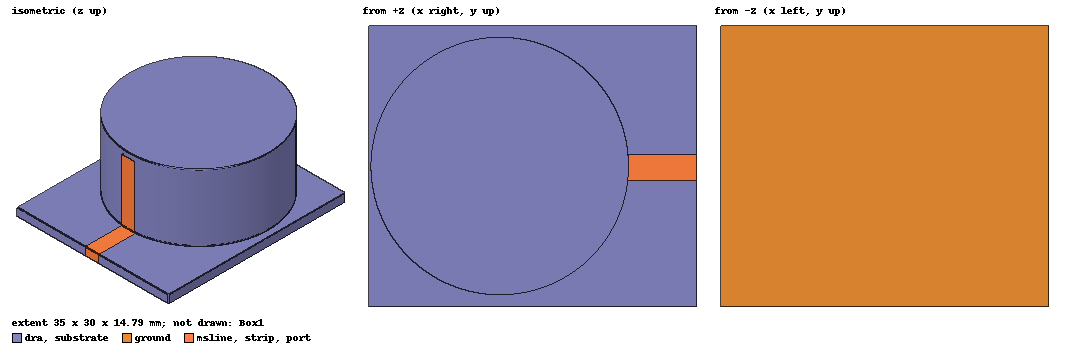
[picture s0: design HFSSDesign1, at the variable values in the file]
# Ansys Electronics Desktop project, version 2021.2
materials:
  vacuum: permittivity=1
  Al2_O3_ceramic: permittivity=9.8
  FR4_epoxy: permittivity=4.4 dielectric_loss_tangent=0.02

design HFSSDesign1 (HFSS, DrivenModal, model units mm)
options: Calculate_Lossy_Dielectrics Save_Adaptive_support_files
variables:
  rad = 13.74mm  # optimise 10mm..14mm
  height = 13.19mm  # optimise 10mm..14mm
  w2 = 2.45mm  # optimise 1.5mm..4.5mm
  w1 = 2.7mm  # optimise 1.5mm..4.5mm
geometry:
  ground = rectangle(corner=(5mm, 6.5mm, -1.6mm), x_size=35mm, y_size=30mm)
  substrate [FR4_epoxy] = box(corner=(5mm, 6.5mm, 0mm), size=(35mm, 30mm, -1.6mm))
  msline = rectangle(corner=(40mm, 20mm, 0mm), x_size=-20mm, y_size=w1)
  dra [Al2_O3_ceramic] = cylinder(axis=Z, base_centre=(19mm, 21.5mm, 0mm), radius=rad, height=height)
  strip = rectangle(corner=(rad+0.019, 20mm, 0mm), y_size=w2, z_size=height-0.001)
  port = rectangle(corner=(40mm, 20mm, 0mm), y_size=w1, z_size=-1.6mm)
  Box1 [vacuum] = box(corner=(-15mm, -15mm, -3mm), size=(70mm, 70mm, 24mm))
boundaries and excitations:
  Rad1: Radiation Objects=Box1
  PerfE1: Perfect E Objects=ground
  PerfE2: Perfect E Objects=strip
  PerfE3: Perfect E Objects=msline
  1: Lumped Port Objects=port Modes{Mode1{IntLine{middle of port.edge(z opposite corner) -> middle of port.edge(z at corner)} CharImp=Zpi RenormImp=50ohm}} Impedance=50ohm
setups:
  Setup1: HfssDriven Frequency=4.85GHz MaxDeltaS=0.02 MaximumPasses=6 MinimumPasses=1 MinimumConvergedPasses=1 PercentRefinement=30 BasisOrder=1 PortAccuracy=2
    sweep Sweep: 1GHz to 5GHz step 0.01GHz; Type=Fast SaveFields
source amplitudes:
  1:1: 1W 0deg
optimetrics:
  ParametricSetup1: Parametric Sim._Setups=[Setup1]
    sweep rad: LIN 13mm 14mm 0.2mm
    sweep height: LIN 13mm 14.2mm 0.4mm
    sweep w2: LIN 2mm 3mm 0.5mm
    sweep w1: LIN 2mm 3mm 0.5mm
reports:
  S Parameter Plot 1: dB(S(1,1)) vs Freq on Setup1 : Sweep [rad=all height=all w2=all w1=all]; markers MX1 at x=1.9495225e+09
